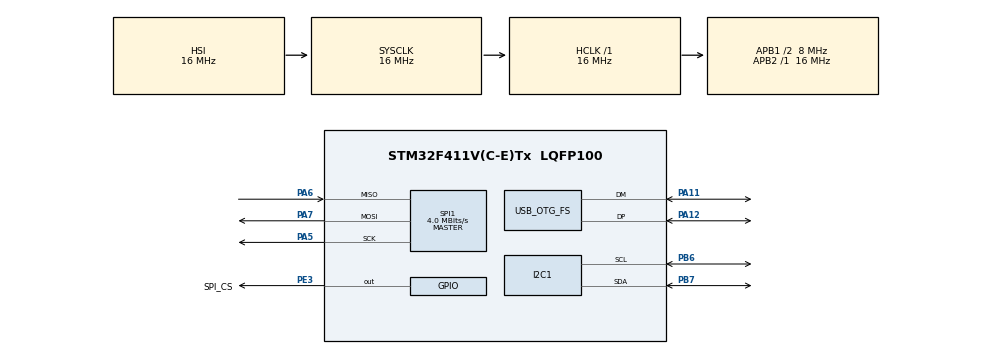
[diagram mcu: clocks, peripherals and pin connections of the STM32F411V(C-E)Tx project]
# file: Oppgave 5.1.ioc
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FREERTOS.Tasks01=GyroTask,24,512,StartGyroTask,Default,NULL,Dynamic,NULL,NULL;TempTask,8,512,StartTempTask,Default,NULL,Dynamic,NULL,NULL
Mcu.Family=STM32F4
Mcu.Name=STM32F411V(C-E)Tx
Mcu.Package=LQFP100
NVIC.OTG_FS_IRQn=true\:5\:0\:false\:false\:true\:true\:false\:true\:true
NVIC.PriorityGroup=NVIC_PRIORITYGROUP_4
NVIC.TIM2_IRQn=true\:15\:0\:false\:false\:true\:false\:false\:true\:true
NVIC.TimeBase=TIM2_IRQn
NVIC.TimeBaseIP=TIM2
PA11.Mode=Device_Only
PA11.Signal=USB_OTG_FS_DM
PA12.Mode=Device_Only
PA12.Signal=USB_OTG_FS_DP
PA5.Mode=Full_Duplex_Master
PA5.Signal=SPI1_SCK
PA6.Mode=Full_Duplex_Master
PA6.Signal=SPI1_MISO
PA7.Mode=Full_Duplex_Master
PA7.Signal=SPI1_MOSI
PB6.Mode=I2C
PB6.Signal=I2C1_SCL
PB7.Mode=I2C
PB7.Signal=I2C1_SDA
PE3.GPIO_Label=SPI_CS
PE3.Signal=GPIO_Output
PH0\ -\ OSC_IN.Mode=HSE-External-Oscillator
PH0\ -\ OSC_IN.Signal=RCC_OSC_IN
PH1\ -\ OSC_OUT.Mode=HSE-External-Oscillator
PH1\ -\ OSC_OUT.Signal=RCC_OSC_OUT
ProjectManager.HeapSize=0x200
ProjectManager.StackSize=0x400
ProjectManager.TargetToolchain=STM32CubeIDE
RCC.48MHZClocksFreq_Value=48000000
RCC.AHBFreq_Value=16000000
RCC.APB1CLKDivider=RCC_HCLK_DIV2
RCC.APB1Freq_Value=8000000
RCC.APB1TimFreq_Value=16000000
RCC.APB2Freq_Value=16000000
RCC.APB2TimFreq_Value=16000000
RCC.CortexFreq_Value=16000000
RCC.HCLKFreq_Value=16000000
RCC.HSE_VALUE=8000000
RCC.HSI_VALUE=16000000
RCC.LSE_VALUE=32768
RCC.PLLI2SM=5
RCC.PLLI2SN=200
RCC.PLLM=4
RCC.PLLN=72
RCC.PLLQ=3
RCC.SYSCLKFreq_VALUE=16000000
RCC.VCOOutputFreq_Value=144000000
SPI1.BaudRatePrescaler=SPI_BAUDRATEPRESCALER_4
SPI1.CalculateBaudRate=4.0 MBits/s
SPI1.Direction=SPI_DIRECTION_2LINES
SPI1.Mode=SPI_MODE_MASTER
SPI1.VirtualType=VM_MASTER
USB_DEVICE.CLASS_NAME_FS=CDC
USB_DEVICE.VirtualMode=Cdc
USB_DEVICE.VirtualModeFS=Cdc_FS
USB_OTG_FS.VirtualMode=Device_Only
VP_FREERTOS_VS_CMSIS_V2.Mode=CMSIS_V2
VP_SYS_VS_tim2.Mode=TIM2
VP_USB_DEVICE_VS_USB_DEVICE_CDC_FS.Mode=CDC_FS
board=STM32F411E-DISCO

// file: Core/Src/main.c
/* USER CODE BEGIN Header */
/**
  ******************************************************************************
  * @file           : main.c
  * @brief          : Main program body
  ******************************************************************************
  * @attention
  *
  * Copyright (c) 2024 STMicroelectronics.
  * All rights reserved.
  *
  * This software is licensed under terms that can be found in the LICENSE file
  * in the root directory of this software component.
  * If no LICENSE file comes with this software, it is provided AS-IS.
  *
  ******************************************************************************
  */
/* USER CODE END Header */
#include "main.h"
#include "cmsis_os.h"
#include "usb_device.h"
#include "usbd_cdc_if.h"
uint8_t SPI_Read_Register(uint8_t reg_addr);

I2C_HandleTypeDef hi2c1;

SPI_HandleTypeDef hspi1;

/* Definitions for GyroTask */
osThreadId_t GyroTaskHandle;
const osThreadAttr_t GyroTask_attributes = {
  .name = "GyroTask",
  .stack_size = 512 * 4,
  .priority = (osPriority_t) osPriorityNormal,
};
/* Definitions for TempTask */
osThreadId_t TempTaskHandle;
const osThreadAttr_t TempTask_attributes = {
  .name = "TempTask",
  .stack_size = 512 * 4,
  .priority = (osPriority_t) osPriorityLow,
};

/* USER CODE BEGIN PV */

// Gyroscope variables (taken from Oppgave 4, with minor changes)
/* CTRL Register variables */
uint8_t CTRL_REG1_addr = 0x20; // CTRL_REG1 address
uint8_t CTRL_REG1_val = 0x0F; // Value to write to CTRL_REG1 to configure gyroscope
/* X-axis variables */
uint8_t OUT_X_L_addr = 0x28; // Address for the lower 8 bits of the X-axis data
uint8_t OUT_X_H_addr = 0x29; // Address for the upper 8 bits of the X-axis data
uint8_t x_lsb; // Low bytes
uint8_t x_msb; // High bytes
int16_t x_val; // Combine high and low bytes
/* Y-axis variables */
uint8_t OUT_Y_L_addr = 0x2A; // Address for the lower 8 bits of the Y-axis data
uint8_t OUT_Y_H_addr = 0x2B; // Address for the upper 8 bits of the Y-axis data
uint8_t y_lsb; // Low bytes
uint8_t y_msb; // High bytes
int16_t y_val; // Combine high and low bytes
/* SPI_Read_Register variables */
uint8_t reg_addr;
uint8_t rx_data;
uint8_t tx_data;

// Temperature sensor variables (taken from Oppgave 3, with minor changes)
static const uint8_t TMP102_addr = 0x48 << 1; // TMP102 sensor address
static const uint8_t TMP102_TEMP_REG = 0x00; // Temperature register address
uint8_t temp_buf[2]; // Array to store the parameter sent and data received
HAL_StatusTypeDef status; // Status of I2C communication
int16_t temp_raw; // Variable to store raw 12-bit temperature
float temperature; // Variable to store converted temperature

/* USER CODE END PV */

void SystemClock_Config(void);
static void MX_GPIO_Init(void);
static void MX_I2C1_Init(void);
static void MX_SPI1_Init(void);
void StartGyroTask(void *argument);
void StartTempTask(void *argument);

int main(void)
{

  /* MCU Configuration--------------------------------------------------------*/

  /* Reset of all peripherals, Initializes the Flash interface and the Systick. */
  HAL_Init();

  /* Configure the system clock */
  SystemClock_Config();

  /* Initialize all configured peripherals */
  MX_GPIO_Init();
  MX_I2C1_Init();
  MX_SPI1_Init();
  MX_USB_DEVICE_Init();

  /* Init scheduler */
  osKernelInitialize();

  /* Create the thread(s) */
  /* creation of GyroTask */
  GyroTaskHandle = osThreadNew(StartGyroTask, NULL, &GyroTask_attributes);

  /* creation of TempTask */
  TempTaskHandle = osThreadNew(StartTempTask, NULL, &TempTask_attributes);

  /* Start scheduler */
  osKernelStart();

  /* We should never get here as control is now taken by the scheduler */

  /* Infinite loop */
  while (1)
  {

  }
}

void SystemClock_Config(void)
{
  RCC_OscInitTypeDef RCC_OscInitStruct = {0};
  RCC_ClkInitTypeDef RCC_ClkInitStruct = {0};

  /** Configure the main internal regulator output voltage
  */
  __HAL_RCC_PWR_CLK_ENABLE();
  __HAL_PWR_VOLTAGESCALING_CONFIG(PWR_REGULATOR_VOLTAGE_SCALE1);

  /** Initializes the RCC Oscillators according to the specified parameters
  * in the RCC_OscInitTypeDef structure.
  */
  RCC_OscInitStruct.OscillatorType = RCC_OSCILLATORTYPE_HSI|RCC_OSCILLATORTYPE_HSE;
  RCC_OscInitStruct.HSEState = RCC_HSE_ON;
  RCC_OscInitStruct.HSIState = RCC_HSI_ON;
  RCC_OscInitStruct.HSICalibrationValue = RCC_HSICALIBRATION_DEFAULT;
  RCC_OscInitStruct.PLL.PLLState = RCC_PLL_ON;
  RCC_OscInitStruct.PLL.PLLSource = RCC_PLLSOURCE_HSE;
  RCC_OscInitStruct.PLL.PLLM = 4;
  RCC_OscInitStruct.PLL.PLLN = 72;
  RCC_OscInitStruct.PLL.PLLP = RCC_PLLP_DIV2;
  RCC_OscInitStruct.PLL.PLLQ = 3;
  if (HAL_RCC_OscConfig(&RCC_OscInitStruct) != HAL_OK)
  {
    Error_Handler();
  }

  /** Initializes the CPU, AHB and APB buses clocks
  */
  RCC_ClkInitStruct.ClockType = RCC_CLOCKTYPE_HCLK|RCC_CLOCKTYPE_SYSCLK
                              |RCC_CLOCKTYPE_PCLK1|RCC_CLOCKTYPE_PCLK2;
  RCC_ClkInitStruct.SYSCLKSource = RCC_SYSCLKSOURCE_HSI;
  RCC_ClkInitStruct.AHBCLKDivider = RCC_SYSCLK_DIV1;
  RCC_ClkInitStruct.APB1CLKDivider = RCC_HCLK_DIV2;
  RCC_ClkInitStruct.APB2CLKDivider = RCC_HCLK_DIV1;

  if (HAL_RCC_ClockConfig(&RCC_ClkInitStruct, FLASH_LATENCY_0) != HAL_OK)
  {
    Error_Handler();
  }
}

static void MX_I2C1_Init(void)
{

  hi2c1.Instance = I2C1;
  hi2c1.Init.ClockSpeed = 100000;
  hi2c1.Init.DutyCycle = I2C_DUTYCYCLE_2;
  hi2c1.Init.OwnAddress1 = 0;
  hi2c1.Init.AddressingMode = I2C_ADDRESSINGMODE_7BIT;
  hi2c1.Init.DualAddressMode = I2C_DUALADDRESS_DISABLE;
  hi2c1.Init.OwnAddress2 = 0;
  hi2c1.Init.GeneralCallMode = I2C_GENERALCALL_DISABLE;
  hi2c1.Init.NoStretchMode = I2C_NOSTRETCH_DISABLE;
  if (HAL_I2C_Init(&hi2c1) != HAL_OK)
  {
    Error_Handler();
  }

}

static void MX_SPI1_Init(void)
{

  /* SPI1 parameter configuration*/
  hspi1.Instance = SPI1;
  hspi1.Init.Mode = SPI_MODE_MASTER;
  hspi1.Init.Direction = SPI_DIRECTION_2LINES;
  hspi1.Init.DataSize = SPI_DATASIZE_8BIT;
  hspi1.Init.CLKPolarity = SPI_POLARITY_LOW;
  hspi1.Init.CLKPhase = SPI_PHASE_1EDGE;
  hspi1.Init.NSS = SPI_NSS_SOFT;
  hspi1.Init.BaudRatePrescaler = SPI_BAUDRATEPRESCALER_4;
  hspi1.Init.FirstBit = SPI_FIRSTBIT_MSB;
  hspi1.Init.TIMode = SPI_TIMODE_DISABLE;
  hspi1.Init.CRCCalculation = SPI_CRCCALCULATION_DISABLE;
  hspi1.Init.CRCPolynomial = 10;
  if (HAL_SPI_Init(&hspi1) != HAL_OK)
  {
    Error_Handler();
  }

}

static void MX_GPIO_Init(void)
{
  GPIO_InitTypeDef GPIO_InitStruct = {0};

  /* GPIO Ports Clock Enable */
  __HAL_RCC_GPIOE_CLK_ENABLE();
  __HAL_RCC_GPIOH_CLK_ENABLE();
  __HAL_RCC_GPIOA_CLK_ENABLE();
  __HAL_RCC_GPIOB_CLK_ENABLE();

  /*Configure GPIO pin Output Level */
  HAL_GPIO_WritePin(SPI_CS_GPIO_Port, SPI_CS_Pin, GPIO_PIN_RESET);

  /*Configure GPIO pin : SPI_CS_Pin */
  GPIO_InitStruct.Pin = SPI_CS_Pin;
  GPIO_InitStruct.Mode = GPIO_MODE_OUTPUT_PP;
  GPIO_InitStruct.Pull = GPIO_NOPULL;
  GPIO_InitStruct.Speed = GPIO_SPEED_FREQ_LOW;
  HAL_GPIO_Init(SPI_CS_GPIO_Port, &GPIO_InitStruct);

}

/* USER CODE BEGIN 4 */

uint8_t SPI_Read_Register(uint8_t reg_addr)
{
	rx_data = 0;
	tx_data = reg_addr | 0x80; // Read from register

	HAL_GPIO_WritePin(SPI_CS_GPIO_Port, SPI_CS_Pin, GPIO_PIN_RESET); // Set CS low
	HAL_SPI_Transmit(&hspi1, &tx_data, 1, HAL_MAX_DELAY); // Transmit register address
	HAL_SPI_Receive(&hspi1, &rx_data, 1, HAL_MAX_DELAY); // Receive data from register
	HAL_GPIO_WritePin(SPI_CS_GPIO_Port, SPI_CS_Pin, GPIO_PIN_SET); // Set CS high

	return rx_data;
}

/* USER CODE END 4 */

void StartGyroTask(void *argument)
{
  /* init code for USB_DEVICE */
  //MX_USB_DEVICE_Init();
  /* USER CODE BEGIN 5 */

  // Configure built-in gyroscope
  HAL_GPIO_WritePin(SPI_CS_GPIO_Port, SPI_CS_Pin, GPIO_PIN_RESET); // Set CS low
  HAL_SPI_Transmit(&hspi1, &CTRL_REG1_addr, 1, HAL_MAX_DELAY); // Send CTRL_REG1 address 0x20
  HAL_SPI_Transmit(&hspi1, &CTRL_REG1_val, 1, HAL_MAX_DELAY); // Send configure value 0x0F
  HAL_GPIO_WritePin(SPI_CS_GPIO_Port, SPI_CS_Pin, GPIO_PIN_SET); // Set CS high

  /* Infinite loop */
  for(;;)
  {
	  /* Code taken from Oppgave 4, with a few changes */
	  // Read data from x-axis
	  x_lsb = SPI_Read_Register(OUT_X_L_addr);
	  x_msb = SPI_Read_Register(OUT_X_H_addr);

	  // Combine x_msb and x_lsb
	  x_val = ((uint16_t) x_msb << 8) | ((uint16_t) x_lsb);

	  // Read data from y-axis
	  y_lsb = SPI_Read_Register(OUT_Y_L_addr);
	  y_msb = SPI_Read_Register(OUT_Y_H_addr);

	  // Combine y_msb and y_lsb
	  y_val = ((uint16_t) y_msb << 8) | ((uint16_t) y_lsb);

	  // Send the temperature data over USB
	  char gyro_str[50];
	  sprintf(gyro_str, "X: %d, Y: %d\r\n", x_val, y_val);
	  CDC_Transmit_FS((uint8_t*)gyro_str, strlen(gyro_str));

    osDelay(500);
  }
  /* USER CODE END 5 */
}

void StartTempTask(void *argument)
{
  /* USER CODE BEGIN StartTempTask */
  /* Infinite loop */
  for(;;)
  {
	  /* Code taken from Oppgave 3, with a few changes */

	  // Sending read request for temperature data to temperature sensor
	  temp_buf[0] = TMP102_TEMP_REG;
	  status = HAL_I2C_Master_Transmit(&hi2c1, TMP102_addr, temp_buf, 1, HAL_MAX_DELAY);

	  // Check status of transmission
	  if (status == HAL_OK){
		  // Receive temperature data
		  status = HAL_I2C_Master_Receive(&hi2c1, TMP102_addr, temp_buf, 2, HAL_MAX_DELAY);

		  // Check status of receive
		  if (status == HAL_OK){
			  // Combine the MSB and LSB from the buffer, and isolate the first 12 bits to get the raw temperature value
			  temp_raw = ((int16_t)temp_buf[0] << 4) | (temp_buf[1] >> 4);
			  // Convert raw value to a temperature in Celsius
			  temperature = temp_raw * 0.0625f;

			  // Send the temperature data over USB
			  char temp_str[50];
			  sprintf(temp_str, "Temperature: %.2f°C\r\n", temperature);
			  CDC_Transmit_FS((uint8_t*)temp_str, strlen(temp_str));

		  } else {

		  }

	  } else {

	  }
    osDelay(500);
  }
  /* USER CODE END StartTempTask */
}

void HAL_TIM_PeriodElapsedCallback(TIM_HandleTypeDef *htim)
{
  if (htim->Instance == TIM2) {
    HAL_IncTick();
  }
}

void Error_Handler(void)
{
  __disable_irq();
  while (1)
  {
  }
}
